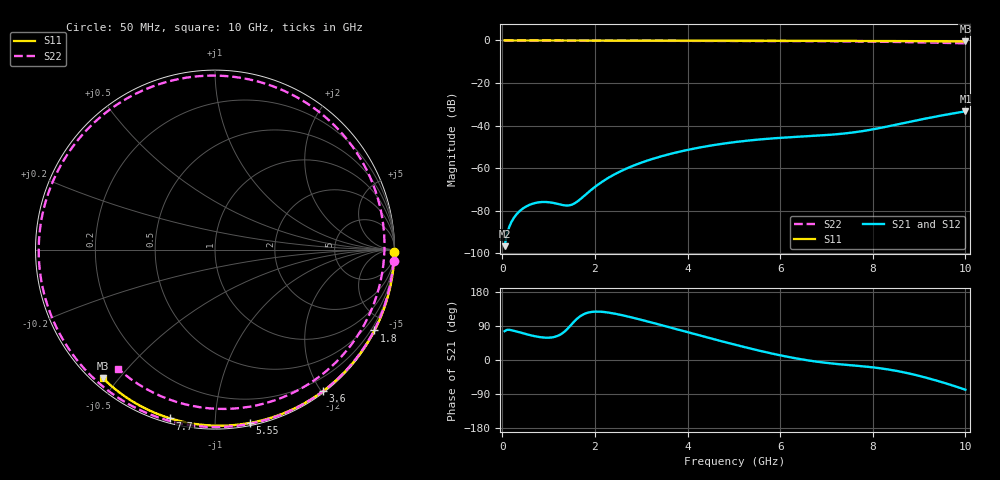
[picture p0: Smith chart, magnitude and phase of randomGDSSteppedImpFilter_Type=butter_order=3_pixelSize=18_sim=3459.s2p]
! freq	dB(S11)	phase(S11)	dB(S12)	phase(S12)
!  dB(S21)	phase(S21)	dB(S22)	phase(S22)
!S-par simulation data
#  GHz  S  DB  R 50
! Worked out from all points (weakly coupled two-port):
!   200 points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, 50 MHz to 10 GHz, reference 50 ohm
!   highest |S21| = -33.30 dB at 10 GHz (marker M1); lowest = -96.6 dB at 50 MHz (marker M2)
!   lowest |S11| = -0.4 dB at 10 GHz (marker M3), VSWR 39.11, Z = 1.54 - j22.7 ohm
!   |S11| at or under -10 dB: nowhere
!   |S22| runs from -1.4 to 0.0 dB; largest |S21 - S12| = 0
!   S11 on the Smith chart (normalised r, x): 50 MHz: open; 1.8 GHz: 0.04, -4.18; 3.6 GHz: 0.02, -2.03; 5.55 GHz: 0.02, -1.22; 7.7 GHz: 0.02, -0.77; 10 GHz: 0.03, -0.45
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0.05  -0.00 -0.7  -96.60 76.0  -96.60 76.0  -0.03 -3.8
0.45  -0.01 -6.8  -78.84 70.4  -78.84 70.4  -0.05 -32.4
0.9  -0.02 -13.5  -75.85 59.2  -75.85 59.2  -0.07 -62.7
1.45  -0.03 -21.7  -77.42 87.8  -77.42 87.8  -0.10 -95.4
1.75  -0.03 -26.1  -73.33 120.3  -73.33 120.3  -0.11 -111.3
1.8  -0.03 -26.9  -72.38 123.0  -72.38 123.0  -0.12 -113.8
2.2  -0.04 -32.7  -65.73 126.6  -65.73 126.6  -0.13 -132.7
2.6  -0.05 -38.5  -60.96 118.0  -60.96 118.0  -0.14 -150.0
3.4  -0.07 -49.8  -54.61 93.2  -54.61 93.2  -0.16 178.8
3.6  -0.07 -52.6  -53.43 86.7  -53.43 86.7  -0.16 171.4
4.3  -0.09 -62.1  -50.12 63.6  -50.12 63.6  -0.19 146.1
5.05  -0.11 -72.1  -47.65 39.6  -47.65 39.6  -0.23 118.6
5.55  -0.13 -78.5  -46.50 24.6  -46.50 24.6  -0.25 99.4
6.15  -0.15 -86.1  -45.53 8.7  -45.53 8.7  -0.30 75.0
6.7  -0.18 -92.9  -44.84 -2.8  -44.84 -2.8  -0.34 50.9
7.25  -0.21 -99.5  -43.99 -10.8  -43.99 -10.8  -0.41 25.0
7.7  -0.24 -104.8  -42.83 -15.7  -42.83 -15.7  -0.49 2.5
8.35  -0.29 -112.4  -40.26 -25.3  -40.26 -25.3  -0.65 -32.0
8.8  -0.32 -117.6  -38.20 -36.0  -38.20 -36.0  -0.81 -57.1
9.2  -0.36 -122.1  -36.42 -48.2  -36.42 -48.2  -0.97 -80.2
9.6  -0.40 -126.6  -34.79 -62.5  -34.79 -62.5  -1.16 -104.2
10  -0.44 -131.1  -33.30 -78.4  -33.30 -78.4  -1.35 -129.2
